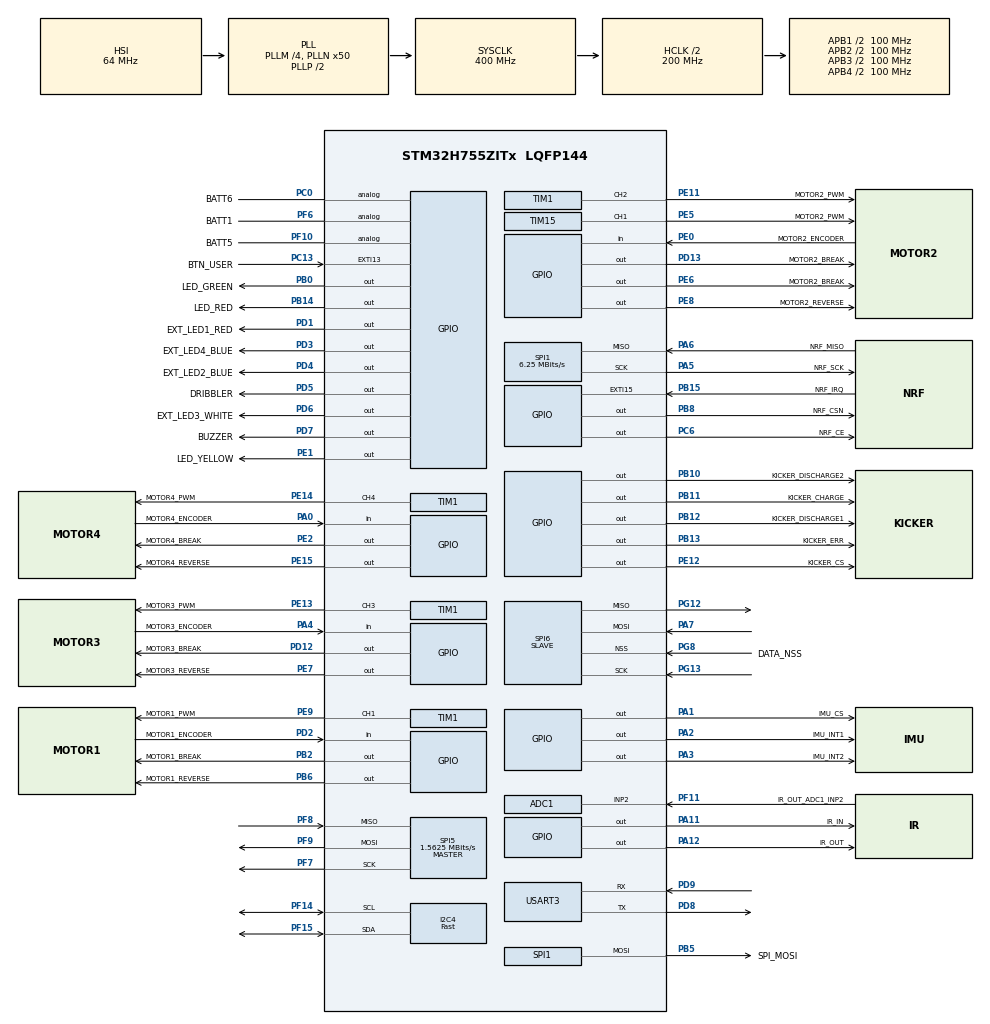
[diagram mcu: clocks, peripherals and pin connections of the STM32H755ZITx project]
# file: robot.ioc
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ADC1.Channel-0\#ChannelRegularConversion=ADC_CHANNEL_2
ADC1.NbrOfConversionFlag=1
ADC1.OffsetNumber-0\#ChannelRegularConversion=ADC_OFFSET_NONE
ADC1.OffsetSignedSaturation-0\#ChannelRegularConversion=DISABLE
ADC1.Rank-0\#ChannelRegularConversion=1
ADC1.SamplingTime-0\#ChannelRegularConversion=ADC_SAMPLETIME_1CYCLE_5
ADC1.master=1
CortexM4.IPs=CORTEX_M4\:I,DEBUG,FATFS_M4\:I,FREERTOS_M4\:I,IWDG2\:I,OPENAMP_M4\:I,PDM2PCM_M4\:I,PWR,RCC,RESMGR_UTILITY,SYS_M4\:I,USB_DEVICE_M4\:I,USB_HOST_M4\:I,VREFBUF,WWDG2\:I,GPIO,DMA,BDMA,MDMA,NVIC2\:I
CortexM7.IPs=CORTEX_M7\:I,DEBUG\:I,FATFS_M7\:I,FREERTOS_M7\:I,IWDG1\:I,OPENAMP_M7\:I,PDM2PCM_M7\:I,PWR\:I,RCC\:I,RESMGR_UTILITY\:I,SYS\:I,USB_DEVICE_M7\:I,USB_HOST_M7\:I,VREFBUF\:I,WWDG1\:I,GPIO\:I,DMA\:I,BDMA\:I,MDMA\:I,NVIC1\:I,USART3\:I,ADC3\:I,TIM1\:I,SPI1\:I,TIM15\:I,TIM2\:I,I2C4\:I,TIM4\:I,TIM5\:I,TIM3\:I,TIM7\:I,TIM12\:I,SPI6\:I,SPI5\:I,ADC1\:I
CortexM7.Pins=PE2,PE6,PC13,PF6,PF10,PC0,PA0,PA1,PA2,PA3,PA4,PB0,PB2,PE7,PE8,PE12,PE15,PB10,PB11,PB12,PB13,PB14,PB15,PD12,PD13,PC6,PA11,PA12,PD1,PD2,PD3,PD4,PD5,PD6,PD7,PB6,PB8,PE0,PE1
I2C4.I2C_Speed_Mode=I2C_Fast
I2C4.Timing=0x009034B6
Mcu.Family=STM32H7
Mcu.Name=STM32H755ZITx
Mcu.Package=LQFP144
NVIC1.EXTI15_10_IRQn=true\:7\:0\:true\:false\:true\:true\:true\:true
NVIC1.PriorityGroup=NVIC_PRIORITYGROUP_4
NVIC1.SPI5_IRQn=true\:0\:0\:false\:false\:true\:true\:true\:true
NVIC1.SPI6_IRQn=true\:5\:0\:true\:false\:true\:true\:true\:true
NVIC1.TIM3_IRQn=true\:6\:0\:true\:false\:true\:true\:true\:true
NVIC1.TIM4_IRQn=true\:6\:0\:true\:false\:true\:true\:true\:true
NVIC1.TIM5_IRQn=true\:6\:0\:true\:false\:true\:true\:true\:true
NVIC1.TIM7_IRQn=true\:6\:0\:true\:false\:true\:true\:true\:true
NVIC1.TIM8_BRK_TIM12_IRQn=true\:6\:0\:true\:false\:true\:true\:true\:true
NVIC1.USART3_IRQn=true\:6\:0\:true\:false\:true\:true\:true\:true
NVIC2.PriorityGroup=NVIC_PRIORITYGROUP_4
PA0.GPIO_Label=MOTOR4_ENCODER
PA0.GPIO_PuPd=GPIO_PULLDOWN
PA0.PinAttribute=CortexM7
PA0.Signal=GPIO_Input
PA1.GPIO_Label=IMU_CS
PA1.PinAttribute=CortexM7
PA1.Signal=GPIO_Output
PA11.GPIO_Label=IR_IN
PA11.PinAttribute=CortexM7
PA11.Signal=GPIO_Output
PA12.GPIO_Label=IR_OUT
PA12.PinAttribute=CortexM7
PA12.Signal=GPIO_Output
PA2.GPIO_Label=IMU_INT1
PA2.PinAttribute=CortexM7
PA2.Signal=GPIO_Output
PA3.GPIO_Label=IMU_INT2
PA3.PinAttribute=CortexM7
PA3.Signal=GPIO_Output
PA4.GPIO_Label=MOTOR3_ENCODER
PA4.GPIO_PuPd=GPIO_NOPULL
PA4.PinAttribute=CortexM7
PA4.Signal=GPIO_Input
PA5.GPIO_Label=NRF_SCK
PA5.Mode=Full_Duplex_Master
PA5.PinAttribute=CortexM7
PA5.Signal=SPI1_SCK
PA6.GPIO_Label=NRF_MISO
PA6.Mode=Full_Duplex_Master
PA6.PinAttribute=CortexM7
PA6.Signal=SPI1_MISO
PA7.Mode=Full_Duplex_Slave
PA7.PinAttribute=CortexM7
PA7.Signal=SPI6_MOSI
PB0.GPIO_Label=LED_GREEN
PB0.PinAttribute=CortexM7
PB0.Signal=GPIO_Output
PB10.GPIO_Label=KICKER_DISCHARGE2
PB10.PinAttribute=CortexM7
PB10.PinState=GPIO_PIN_SET
PB10.Signal=GPIO_Output
PB11.GPIO_Label=KICKER_CHARGE
PB11.PinAttribute=CortexM7
PB11.Signal=GPIO_Output
PB12.GPIO_Label=KICKER_DISCHARGE1
PB12.PinAttribute=CortexM7
PB12.PinState=GPIO_PIN_SET
PB12.Signal=GPIO_Output
PB13.GPIO_Label=KICKER_ERR
PB13.PinAttribute=CortexM7
PB13.Signal=GPIO_Output
PB14.GPIO_Label=LED_RED
PB14.PinAttribute=CortexM7
PB14.PinState=GPIO_PIN_RESET
PB14.Signal=GPIO_Output
PB15.GPIO_Label=NRF_IRQ
PB15.GPIO_ModeDefaultEXTI=GPIO_MODE_IT_FALLING
PB15.PinAttribute=CortexM7
PB15.Signal=GPXTI15
PB2.GPIO_Label=MOTOR1_BREAK
PB2.PinAttribute=CortexM7
PB2.Signal=GPIO_Output
PB5.GPIO_Label=SPI_MOSI
PB5.Mode=Full_Duplex_Master
PB5.PinAttribute=CortexM7
PB5.Signal=SPI1_MOSI
PB6.GPIO_Label=MOTOR1_REVERSE
PB6.PinAttribute=CortexM7
PB6.Signal=GPIO_Output
PB8.GPIO_Label=NRF_CSN
PB8.PinAttribute=CortexM7
PB8.Signal=GPIO_Output
PC0.GPIO_Label=BATT6
PC0.PinAttribute=CortexM7
PC0.Signal=GPIO_Analog
PC13.GPIO_Label=BTN_USER
PC13.PinAttribute=CortexM7
PC13.Signal=GPXTI13
PC6.GPIO_Label=NRF_CE
PC6.PinAttribute=CortexM7
PC6.Signal=GPIO_Output
PD1.GPIO_Label=EXT_LED1_RED
PD1.PinAttribute=CortexM7
PD1.Signal=GPIO_Output
PD12.GPIO_Label=MOTOR3_BREAK
PD12.PinAttribute=CortexM7
PD12.Signal=GPIO_Output
PD13.GPIO_Label=MOTOR2_BREAK
PD13.PinAttribute=CortexM7
PD13.Signal=GPIO_Output
PD2.GPIO_Label=MOTOR1_ENCODER
PD2.GPIO_PuPd=GPIO_PULLDOWN
PD2.PinAttribute=CortexM7
PD2.Signal=GPIO_Input
PD3.GPIO_Label=EXT_LED4_BLUE
PD3.PinAttribute=CortexM7
PD3.Signal=GPIO_Output
PD4.GPIO_Label=EXT_LED2_BLUE
PD4.PinAttribute=CortexM7
PD4.Signal=GPIO_Output
PD5.GPIO_Label=DRIBBLER
PD5.PinAttribute=CortexM7
PD5.Signal=GPIO_Output
PD6.GPIO_Label=EXT_LED3_WHITE
PD6.PinAttribute=CortexM7
PD6.Signal=GPIO_Output
PD7.GPIO_Label=BUZZER
PD7.PinAttribute=CortexM7
PD7.Signal=GPIO_Output
PD8.GPIO_Speed=GPIO_SPEED_FREQ_LOW
PD8.Mode=Asynchronous
PD8.PinAttribute=CortexM7
PD8.Signal=USART3_TX
PD9.GPIO_Speed=GPIO_SPEED_FREQ_LOW
PD9.Mode=Asynchronous
PD9.PinAttribute=CortexM7
PD9.Signal=USART3_RX
PE0.GPIO_Label=MOTOR2_ENCODER
PE0.PinAttribute=CortexM7
PE0.Signal=GPIO_Input
PE1.GPIO_Label=LED_YELLOW
PE1.PinAttribute=CortexM7
PE1.PinState=GPIO_PIN_SET
PE1.Signal=GPIO_Output
PE11.GPIO_Label=MOTOR2_PWM
PE11.PinAttribute=CortexM7
PE11.Signal=S_TIM1_CH2
PE12.GPIO_Label=KICKER_CS
PE12.PinAttribute=CortexM7
PE12.Signal=GPIO_Output
PE13.GPIO_Label=MOTOR3_PWM
PE13.PinAttribute=CortexM7
PE13.Signal=S_TIM1_CH3
PE14.GPIO_Label=MOTOR4_PWM
PE14.PinAttribute=CortexM7
PE14.Signal=S_TIM1_CH4
PE15.GPIO_Label=MOTOR4_REVERSE
PE15.PinAttribute=CortexM7
PE15.Signal=GPIO_Output
PE2.GPIO_Label=MOTOR4_BREAK
PE2.PinAttribute=CortexM7
PE2.Signal=GPIO_Output
PE5.GPIO_Label=MOTOR2_PWM
PE5.PinAttribute=CortexM7
PE5.Signal=S_TIM15_CH1
PE6.GPIO_Label=MOTOR2_BREAK
PE6.PinAttribute=CortexM7
PE6.Signal=GPIO_Output
PE7.GPIO_Label=MOTOR3_REVERSE
PE7.PinAttribute=CortexM7
PE7.Signal=GPIO_Output
PE8.GPIO_Label=MOTOR2_REVERSE
PE8.PinAttribute=CortexM7
PE8.Signal=GPIO_Output
PE9.GPIO_Label=MOTOR1_PWM
PE9.PinAttribute=CortexM7
PE9.Signal=S_TIM1_CH1
PF10.GPIO_Label=BATT5
PF10.PinAttribute=CortexM7
PF10.Signal=GPIO_Analog
PF11.GPIO_Label=IR_OUT_ADC1_INP2
PF11.Mode=IN2-Single-Ended
PF11.PinAttribute=CortexM7
PF11.Signal=ADC1_INP2
PF14.Mode=I2C
PF14.PinAttribute=CortexM7
PF14.Signal=I2C4_SCL
PF15.Mode=I2C
PF15.PinAttribute=CortexM7
PF15.Signal=I2C4_SDA
PF6.GPIO_Label=BATT1
PF6.PinAttribute=CortexM7
PF6.Signal=GPIO_Analog
PF7.Mode=Full_Duplex_Master
PF7.PinAttribute=CortexM7
PF7.Signal=SPI5_SCK
PF8.Mode=Full_Duplex_Master
PF8.PinAttribute=CortexM7
PF8.Signal=SPI5_MISO
PF9.Mode=Full_Duplex_Master
PF9.PinAttribute=CortexM7
PF9.Signal=SPI5_MOSI
PG12.Mode=Full_Duplex_Slave
PG12.PinAttribute=CortexM7
PG12.Signal=SPI6_MISO
PG13.Mode=Full_Duplex_Slave
PG13.PinAttribute=CortexM7
PG13.Signal=SPI6_SCK
PG8.GPIO_Label=DATA_NSS
PG8.Mode=NSS_Signal_Hard_Input
PG8.PinAttribute=CortexM7
PG8.Signal=SPI6_NSS
ProjectManager.HeapSize=M4-0x200,M7-0x200
ProjectManager.StackSize=M4-0x400,M7-0x400
ProjectManager.TargetToolchain=Makefile
RCC.ADCCLockSelection=RCC_ADCCLKSOURCE_CLKP
RCC.ADCFreq_Value=64000000
RCC.APB1Freq_Value=100000000
RCC.APB2Freq_Value=100000000
RCC.APB3Freq_Value=100000000
RCC.APB4Freq_Value=100000000
RCC.CortexFreq_Value=400000000
RCC.D1PPRE=RCC_APB3_DIV2
RCC.D2PPRE1=RCC_APB1_DIV2
RCC.D2PPRE2=RCC_APB2_DIV2
RCC.D3PPRE=RCC_APB4_DIV2
RCC.DIVM1=4
RCC.DIVN1=50
RCC.DIVQ1=4
RCC.HCLKFreq_Value=200000000
RCC.HPRE=RCC_HCLK_DIV2
RCC.PLL2FRACN=0
RCC.PLL3FRACN=0
RCC.PLLFRACN=0
RCC.SYSCLKFreq_VALUE=400000000
RCC.SYSCLKSource=RCC_SYSCLKSOURCE_PLLCLK
RCC.USART234578CLockSelection=RCC_USART234578CLKSOURCE_HSI
RCC.USBFreq_Value=200000000
SH.S_TIM15_CH1.0=TIM15_CH1,PWM Generation1 CH1
SH.S_TIM1_CH1.0=TIM1_CH1,PWM Generation1 CH1
SH.S_TIM1_CH2.0=TIM1_CH2,PWM Generation2 CH2
SH.S_TIM1_CH3.0=TIM1_CH3,PWM Generation3 CH3
SH.S_TIM1_CH4.0=TIM1_CH4,PWM Generation4 CH4
SPI1.BaudRatePrescaler=SPI_BAUDRATEPRESCALER_32
SPI1.CalculateBaudRate=6.25 MBits/s
SPI1.DataSize=SPI_DATASIZE_8BIT
SPI1.Direction=SPI_DIRECTION_2LINES
SPI1.Mode=SPI_MODE_MASTER
SPI1.VirtualType=VM_MASTER
SPI5.BaudRatePrescaler=SPI_BAUDRATEPRESCALER_64
SPI5.CalculateBaudRate=1.5625 MBits/s
SPI5.DataSize=SPI_DATASIZE_8BIT
SPI5.Direction=SPI_DIRECTION_2LINES
SPI5.Mode=SPI_MODE_MASTER
SPI5.VirtualType=VM_MASTER
SPI6.CLKPhase=SPI_PHASE_2EDGE
SPI6.CLKPolarity=SPI_POLARITY_LOW
SPI6.DataSize=SPI_DATASIZE_8BIT
SPI6.Direction=SPI_DIRECTION_2LINES
SPI6.Mode=SPI_MODE_SLAVE
SPI6.VirtualNSS=VM_NSSHARD
SPI6.VirtualType=VM_SLAVE
SYS.userName=SYS_M7
TIM1.Channel-PWM\ Generation1\ CH1=TIM_CHANNEL_1
TIM1.Channel-PWM\ Generation2\ CH2=TIM_CHANNEL_2
TIM1.Channel-PWM\ Generation3\ CH3=TIM_CHANNEL_3
TIM1.Channel-PWM\ Generation4\ CH4=TIM_CHANNEL_4
TIM1.Period=1999
TIM1.Prescaler=0
TIM1.Pulse-PWM\ Generation1\ CH1=0
TIM1.Pulse-PWM\ Generation3\ CH3=0
TIM1.Pulse-PWM\ Generation4\ CH4=0
TIM12.Period=9999
TIM12.Prescaler=19
TIM15.Channel-PWM\ Generation1\ CH1=TIM_CHANNEL_1
TIM15.Period=1999
TIM3.Prescaler=9999
TIM4.Period=999
TIM4.Prescaler=0
TIM5.Period=199
TIM5.Prescaler=799
TIM7.Period=39
TIM7.Prescaler=9999
USART3.ClockPrescaler=PRESCALER_DIV32
USART3.VirtualMode-Asynchronous=VM_ASYNC
VP_SYS_M4_VS_Systick.Mode=SysTick
VP_TIM12_VS_ClockSourceINT.Mode=Internal
VP_TIM12_VS_ClockSourceITR.Mode=TriggerSource_ITR0
VP_TIM3_VS_ClockSourceINT.Mode=Internal
VP_TIM3_VS_ClockSourceITR.Mode=TriggerSource_ITR2
VP_TIM4_VS_ClockSourceINT.Mode=Internal
VP_TIM4_VS_ClockSourceITR.Mode=TriggerSource_ITR1
VP_TIM5_VS_ClockSourceINT.Mode=Internal
VP_TIM5_VS_ClockSourceITR.Mode=TriggerSource_ITR2
VP_TIM7_VS_ClockSourceINT.Mode=Enable_Timer
board=custom

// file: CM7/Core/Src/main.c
/* USER CODE BEGIN Header */
/**
 ******************************************************************************
 * @file           : main.c
 * @brief          : Main program body
 ******************************************************************************
 * @attention
 *
 * Copyright (c) 2023 STMicroelectronics.
 * All rights reserved.
 *
 * This software is licensed under terms that can be found in the LICENSE file
 * in the root directory of this software component.
 * If no LICENSE file comes with this software, it is provided AS-IS.
 *
 ******************************************************************************
 */
/* USER CODE END Header */
#include "main.h"

/* USER CODE BEGIN Includes */
#include "com.h"
#include "imu.h"
#include "imu.pb.h"
#include "data_logging.h"
#include "kicker.h"
#include "log.h"
#include "motor.h"
#include "nav.h"
#include "pos_follow.h"
#include "common.h"
#include "state_estimator.h"
#include "stm32h755xx.h"
#include "stm32h7xx_hal_gpio.h"
#include "stm32h7xx_hal_tim.h"
#include "stm32h7xx_hal_adc.h"
#include "stm32h7xx_it.h"
#include "ui.h"
/* USER CODE END Includes */

/* USER CODE BEGIN PD */
#ifndef HSEM_ID_0
#define HSEM_ID_0 (0U) /* HW semaphore 0*/
#endif
/* USER CODE END PD */

ADC_HandleTypeDef hadc1;

I2C_HandleTypeDef hi2c4;

SPI_HandleTypeDef hspi1;
SPI_HandleTypeDef hspi5;
SPI_HandleTypeDef hspi6;

TIM_HandleTypeDef htim1;
TIM_HandleTypeDef htim3;
TIM_HandleTypeDef htim4;
TIM_HandleTypeDef htim5;
TIM_HandleTypeDef htim7;
TIM_HandleTypeDef htim12;
TIM_HandleTypeDef htim15;

UART_HandleTypeDef huart3;

/* USER CODE BEGIN PV */

I2C_HandleTypeDef hi2c4; // For IMU

/**
 * Used to set tasks to be performed within the main
 * loop of the firmware. It's written to whenever we
 * want to queue such a task (see com.c).
 */
volatile atomic_uint main_tasks;

volatile atomic_uint connected = 0;

uint8_t NRF_AVAILABLE = 0;

static LOG_Module internal_log_mod;
/* USER CODE END PV */

void SystemClock_Config(void);
void PeriphCommonClock_Config(void);
static void MX_GPIO_Init(void);
static void MX_USART3_UART_Init(void);
static void MX_TIM1_Init(void);
static void MX_SPI1_Init(void);
static void MX_TIM12_Init(void);
static void MX_TIM15_Init(void);
static void MX_I2C4_Init(void);
static void MX_TIM4_Init(void);
static void MX_TIM5_Init(void);
static void MX_TIM3_Init(void);
static void MX_TIM7_Init(void);
static void MX_SPI6_Init(void);
static void MX_SPI5_Init(void);
static void MX_ADC1_Init(void);
/* USER CODE BEGIN PFP */

static void I2C4_Init(void);

/* USER CODE END PFP */

/* USER CODE BEGIN 0 */
// Handle callbacks
void HAL_GPIO_EXTI_Callback(uint16_t GPIO_Pin)
{
    __disable_irq();
    switch (GPIO_Pin) {
    case BTN_USER_Pin:
        COM_RF_PrintInfo();
        break;
    case NRF_IRQ_Pin:
        COM_RF_HandleIRQ();
        break;
    default:
        LOG_WARNING("Unhandled interrupt on pin %d...\r\n", GPIO_Pin);
        break;
    }
    __enable_irq();
}

void HAL_TIM_PeriodElapsedCallback(TIM_HandleTypeDef* htim)
{
    /* USER CODE BEGIN Callback 0 */

    /* USER CODE END Callback 0 */
    if (htim->Instance == TIM5) {
        KICKER_ChargeStop();
    }

    if (htim->Instance == TIM3) {
        KICKER_KickStop();
    }
    if (htim->Instance == TIM7) {
        NAV_update_motor_state();
    }

    if (htim->Instance == TIM12) {
        NAV_MovementUpdate();
        if (KICKER_GetKickOnIRBreak() && IR_SensorOcluded())
        {
          KICKER_KickStartSpeed();
        }
    }

    /* USER CODE BEGIN Callback 1 */

    /* USER CODE END Callback 1 */
}

void HAL_UART_RxCpltCallback(UART_HandleTypeDef* huart) { UI_RxCallback(); }

void HAL_SPI_TxRxCpltCallback(SPI_HandleTypeDef *hspi)
{
    if (hspi->Instance == SPI5)
    {
        KICKER_SPI_TxRxCpltCallback(hspi);
    }
}

void HAL_SPI_ErrorCallback(SPI_HandleTypeDef *hspi)
{
    if (hspi->Instance == SPI5)
    {
        KICKER_SPI_ErrorCallback(hspi);
    }
}

/* USER CODE END 0 */

int main(void)
{
/* USER CODE BEGIN Boot_Mode_Sequence_0 */

/* USER CODE END Boot_Mode_Sequence_0 */

/* USER CODE BEGIN Boot_Mode_Sequence_1 */

/* USER CODE END Boot_Mode_Sequence_1 */
  /* MCU Configuration--------------------------------------------------------*/

  /* Reset of all peripherals, Initializes the Flash interface and the Systick. */
  HAL_Init();

  /* Configure the system clock */
  SystemClock_Config();

/* Configure the peripherals common clocks */
  PeriphCommonClock_Config();
/* USER CODE BEGIN Boot_Mode_Sequence_2 */
    /* When system initialization is finished, Cortex-M7 will release Cortex-M4 by
    means of HSEM notification */
    /*HW semaphore Clock enable*/
    __HAL_RCC_HSEM_CLK_ENABLE();
    /*Take HSEM */
    HAL_HSEM_FastTake(HSEM_ID_0);
    /*Release HSEM in order to notify the CPU2(CM4)*/
    HAL_HSEM_Release(HSEM_ID_0, 0);
    /* wait until CPU2 wakes up from stop mode */
    int32_t timeout = 0xFFFF;
    while ((__HAL_RCC_GET_FLAG(RCC_FLAG_D2CKRDY) == RESET) && (timeout-- > 0))
        ;
    if (timeout < 0) {
        Error_Handler();
    }
/* USER CODE END Boot_Mode_Sequence_2 */

  /* Initialize all configured peripherals */
  MX_GPIO_Init();
  MX_USART3_UART_Init();
  MX_TIM1_Init();
  MX_SPI1_Init();
  MX_TIM12_Init();
  MX_TIM15_Init();
  MX_I2C4_Init();
  MX_TIM4_Init();
  MX_TIM5_Init();
  MX_TIM3_Init();
  MX_TIM7_Init();
  MX_SPI6_Init();
  MX_SPI5_Init();
  MX_ADC1_Init();
  /* USER CODE BEGIN 2 */

    // Initialise modules
    LOG_Init(&huart3);
    LOG_InitModule(&internal_log_mod, "MAIN", LOG_LEVEL_INFO, 0);
    if (COM_Get_ID() == 255) {
        LOG_INFO("ID is unknown (%i, serial %li %li %li)\r\n", COM_Get_ID(), HAL_GetUIDw0(), HAL_GetUIDw1(), HAL_GetUIDw2());
    } else {
        LOG_INFO("ID is %i (serial %li %li %li)\r\n", COM_Get_ID(), HAL_GetUIDw0(), HAL_GetUIDw1(), HAL_GetUIDw2());
    }
    POS_Init();
    NAV_Init(&htim7, &htim1, &htim15);
    HAL_TIM_Base_Start_IT(&htim4);
    MOTOR_Init(&htim1);
    DATA_Init(&hspi6);
    KICKER_Init(&htim5, &htim3, &hspi5, &hadc1);
    IMU_Init(&hi2c4);
    STATE_Init();
    UI_Init(&huart3);
    ITR_Init();
    LOG_INFO("Discharging kicker\r\n");
    const int DISCHARGE_AMNT = 10;
    COMMON_buzzer_warning_with_delay();

    for (int i = 0; i < DISCHARGE_AMNT; i++)
    {
        if (i % 20 == 0)
        {
            LOG_INFO("Discharging %d of %d\r\n",i, DISCHARGE_AMNT - 1);
        }

        KICKER_KickSafe();
        HAL_Delay(40);
    }

    STATE_calibrate_imu_gyr();
    HAL_TIM_Base_Start_IT(&htim12);

    COM_Init(&hspi1, &NRF_AVAILABLE);

    if(NRF_AVAILABLE){
        HAL_GPIO_WritePin(LED_GREEN_GPIO_Port, LED_GREEN_Pin, GPIO_PIN_SET);
    }

    HAL_GPIO_WritePin(LED_YELLOW_GPIO_Port, LED_YELLOW_Pin, GPIO_PIN_RESET);

    LOG_INFO("Data sample is %d bytes of max 255\r\n", sizeof(data_sample));
    LOG_INFO("Startup done\r\n");
    COMMON_buzzer_done();
  /* USER CODE END 2 */

  /* Infinite loop */
  /* USER CODE BEGIN WHILE */

    uint32_t now = HAL_GetTick();
    bool on = false;

    NAV_StopDribbler();
    if (KICKER_get_recharge_automatically())
    {
      LOG_INFO("Charging kicker\r\n");
      KICKER_ChargeStart();
    }
    float out[3];
    while (1) {

        DATA_log_state(STATE_get_posx(), STATE_get_posy(), STATE_get_robot_angle());
        if (HAL_GPIO_ReadPin(DATA_NSS_GPIO_Port, DATA_NSS_Pin) == GPIO_PIN_SET)
        {
            // When NSS goes high spi transfer ready for another data dump
            DATA_spi_send();
        }

    /* USER CODE END WHILE */

    }
}

void SystemClock_Config(void)
{
  RCC_OscInitTypeDef RCC_OscInitStruct = {0};
  RCC_ClkInitTypeDef RCC_ClkInitStruct = {0};

  /** Supply configuration update enable
  */
  HAL_PWREx_ConfigSupply(PWR_DIRECT_SMPS_SUPPLY);

  /** Configure the main internal regulator output voltage
  */
  __HAL_PWR_VOLTAGESCALING_CONFIG(PWR_REGULATOR_VOLTAGE_SCALE1);

  while(!__HAL_PWR_GET_FLAG(PWR_FLAG_VOSRDY)) {}

  /** Initializes the RCC Oscillators according to the specified parameters
  * in the RCC_OscInitTypeDef structure.
  */
  RCC_OscInitStruct.OscillatorType = RCC_OSCILLATORTYPE_HSI;
  RCC_OscInitStruct.HSIState = RCC_HSI_DIV1;
  RCC_OscInitStruct.HSICalibrationValue = RCC_HSICALIBRATION_DEFAULT;
  RCC_OscInitStruct.PLL.PLLState = RCC_PLL_ON;
  RCC_OscInitStruct.PLL.PLLSource = RCC_PLLSOURCE_HSI;
  RCC_OscInitStruct.PLL.PLLM = 4;
  RCC_OscInitStruct.PLL.PLLN = 50;
  RCC_OscInitStruct.PLL.PLLP = 2;
  RCC_OscInitStruct.PLL.PLLQ = 4;
  RCC_OscInitStruct.PLL.PLLR = 2;
  RCC_OscInitStruct.PLL.PLLRGE = RCC_PLL1VCIRANGE_3;
  RCC_OscInitStruct.PLL.PLLVCOSEL = RCC_PLL1VCOWIDE;
  RCC_OscInitStruct.PLL.PLLFRACN = 0;
  if (HAL_RCC_OscConfig(&RCC_OscInitStruct) != HAL_OK)
  {
    Error_Handler();
  }

  /** Initializes the CPU, AHB and APB buses clocks
  */
  RCC_ClkInitStruct.ClockType = RCC_CLOCKTYPE_HCLK|RCC_CLOCKTYPE_SYSCLK
                              |RCC_CLOCKTYPE_PCLK1|RCC_CLOCKTYPE_PCLK2
                              |RCC_CLOCKTYPE_D3PCLK1|RCC_CLOCKTYPE_D1PCLK1;
  RCC_ClkInitStruct.SYSCLKSource = RCC_SYSCLKSOURCE_PLLCLK;
  RCC_ClkInitStruct.SYSCLKDivider = RCC_SYSCLK_DIV1;
  RCC_ClkInitStruct.AHBCLKDivider = RCC_HCLK_DIV2;
  RCC_ClkInitStruct.APB3CLKDivider = RCC_APB3_DIV2;
  RCC_ClkInitStruct.APB1CLKDivider = RCC_APB1_DIV2;
  RCC_ClkInitStruct.APB2CLKDivider = RCC_APB2_DIV2;
  RCC_ClkInitStruct.APB4CLKDivider = RCC_APB4_DIV2;

  if (HAL_RCC_ClockConfig(&RCC_ClkInitStruct, FLASH_LATENCY_2) != HAL_OK)
  {
    Error_Handler();
  }
}

void PeriphCommonClock_Config(void)
{
  RCC_PeriphCLKInitTypeDef PeriphClkInitStruct = {0};

  /** Initializes the peripherals clock
  */
  PeriphClkInitStruct.PeriphClockSelection = RCC_PERIPHCLK_CKPER;
  PeriphClkInitStruct.CkperClockSelection = RCC_CLKPSOURCE_HSI;
  if (HAL_RCCEx_PeriphCLKConfig(&PeriphClkInitStruct) != HAL_OK)
  {
    Error_Handler();
  }
}

static void MX_ADC1_Init(void)
{

  ADC_MultiModeTypeDef multimode = {0};
  ADC_ChannelConfTypeDef sConfig = {0};

  /** Common config
  */
  hadc1.Instance = ADC1;
  hadc1.Init.ClockPrescaler = ADC_CLOCK_ASYNC_DIV1;
  hadc1.Init.Resolution = ADC_RESOLUTION_16B;
  hadc1.Init.ScanConvMode = ADC_SCAN_DISABLE;
  hadc1.Init.EOCSelection = ADC_EOC_SINGLE_CONV;
  hadc1.Init.LowPowerAutoWait = DISABLE;
  hadc1.Init.ContinuousConvMode = DISABLE;
  hadc1.Init.NbrOfConversion = 1;
  hadc1.Init.DiscontinuousConvMode = DISABLE;
  hadc1.Init.ExternalTrigConv = ADC_SOFTWARE_START;
  hadc1.Init.ExternalTrigConvEdge = ADC_EXTERNALTRIGCONVEDGE_NONE;
  hadc1.Init.ConversionDataManagement = ADC_CONVERSIONDATA_DR;
  hadc1.Init.Overrun = ADC_OVR_DATA_PRESERVED;
  hadc1.Init.LeftBitShift = ADC_LEFTBITSHIFT_NONE;
  hadc1.Init.OversamplingMode = DISABLE;
  if (HAL_ADC_Init(&hadc1) != HAL_OK)
  {
    Error_Handler();
  }

  /** Configure the ADC multi-mode
  */
  multimode.Mode = ADC_MODE_INDEPENDENT;
  if (HAL_ADCEx_MultiModeConfigChannel(&hadc1, &multimode) != HAL_OK)
  {
    Error_Handler();
  }

  /** Configure Regular Channel
  */
  sConfig.Channel = ADC_CHANNEL_2;
  sConfig.Rank = ADC_REGULAR_RANK_1;
  sConfig.SamplingTime = ADC_SAMPLETIME_1CYCLE_5;
  sConfig.SingleDiff = ADC_SINGLE_ENDED;
  sConfig.OffsetNumber = ADC_OFFSET_NONE;
  sConfig.Offset = 0;
  sConfig.OffsetSignedSaturation = DISABLE;
  if (HAL_ADC_ConfigChannel(&hadc1, &sConfig) != HAL_OK)
  {
    Error_Handler();
  }

}

static void MX_I2C4_Init(void)
{

  /* USER CODE BEGIN I2C4_Init 0 */
    /* Initialize I2C for IMU */
    __HAL_RCC_I2C4_CLK_ENABLE();

    hi2c4.Instance = I2C4;
    hi2c4.Init.Timing = 0x009034B6; // 0x10C0ECFF;
    hi2c4.Init.OwnAddress1 = 0;
    hi2c4.Init.AddressingMode = I2C_ADDRESSINGMODE_7BIT;
    hi2c4.Init.DualAddressMode = I2C_DUALADDRESS_DISABLE;
    hi2c4.Init.GeneralCallMode = I2C_GENERALCALL_DISABLE;
    hi2c4.Init.NoStretchMode = I2C_NOSTRETCH_DISABLE;

    if (HAL_I2C_Init(&hi2c4) != HAL_OK) {
        Error_Handler();
    }

    if (HAL_I2CEx_ConfigAnalogFilter(&hi2c4, I2C_ANALOGFILTER_ENABLE) != HAL_OK) {
        Error_Handler();
    }

    if (HAL_I2CEx_ConfigDigitalFilter(&hi2c4, 0) != HAL_OK) {
        Error_Handler();
    }
  /* USER CODE END I2C4_Init 0 */

  hi2c4.Instance = I2C4;
  hi2c4.Init.Timing = 0x009034B6;
  hi2c4.Init.OwnAddress1 = 0;
  hi2c4.Init.AddressingMode = I2C_ADDRESSINGMODE_7BIT;
  hi2c4.Init.DualAddressMode = I2C_DUALADDRESS_DISABLE;
  hi2c4.Init.OwnAddress2 = 0;
  hi2c4.Init.OwnAddress2Masks = I2C_OA2_NOMASK;
  hi2c4.Init.GeneralCallMode = I2C_GENERALCALL_DISABLE;
  hi2c4.Init.NoStretchMode = I2C_NOSTRETCH_DISABLE;
  if (HAL_I2C_Init(&hi2c4) != HAL_OK)
  {
    Error_Handler();
  }

  /** Configure Analogue filter
  */
  if (HAL_I2CEx_ConfigAnalogFilter(&hi2c4, I2C_ANALOGFILTER_ENABLE) != HAL_OK)
  {
    Error_Handler();
  }

  /** Configure Digital filter
  */
  if (HAL_I2CEx_ConfigDigitalFilter(&hi2c4, 0) != HAL_OK)
  {
    Error_Handler();
  }

}

static void MX_SPI1_Init(void)
{

  /* SPI1 parameter configuration*/
  hspi1.Instance = SPI1;
  hspi1.Init.Mode = SPI_MODE_MASTER;
  hspi1.Init.Direction = SPI_DIRECTION_2LINES;
  hspi1.Init.DataSize = SPI_DATASIZE_8BIT;
  hspi1.Init.CLKPolarity = SPI_POLARITY_LOW;
  hspi1.Init.CLKPhase = SPI_PHASE_1EDGE;
  hspi1.Init.NSS = SPI_NSS_SOFT;
  hspi1.Init.BaudRatePrescaler = SPI_BAUDRATEPRESCALER_32;
  hspi1.Init.FirstBit = SPI_FIRSTBIT_MSB;
  hspi1.Init.TIMode = SPI_TIMODE_DISABLE;
  hspi1.Init.CRCCalculation = SPI_CRCCALCULATION_DISABLE;
  hspi1.Init.CRCPolynomial = 0x0;
  hspi1.Init.NSSPMode = SPI_NSS_PULSE_ENABLE;
  hspi1.Init.NSSPolarity = SPI_NSS_POLARITY_LOW;
  hspi1.Init.FifoThreshold = SPI_FIFO_THRESHOLD_01DATA;
  hspi1.Init.TxCRCInitializationPattern = SPI_CRC_INITIALIZATION_ALL_ZERO_PATTERN;
  hspi1.Init.RxCRCInitializationPattern = SPI_CRC_INITIALIZATION_ALL_ZERO_PATTERN;
  hspi1.Init.MasterSSIdleness = SPI_MASTER_SS_IDLENESS_00CYCLE;
  hspi1.Init.MasterInterDataIdleness = SPI_MASTER_INTERDATA_IDLENESS_00CYCLE;
  hspi1.Init.MasterReceiverAutoSusp = SPI_MASTER_RX_AUTOSUSP_DISABLE;
  hspi1.Init.MasterKeepIOState = SPI_MASTER_KEEP_IO_STATE_DISABLE;
  hspi1.Init.IOSwap = SPI_IO_SWAP_DISABLE;
  if (HAL_SPI_Init(&hspi1) != HAL_OK)
  {
    Error_Handler();
  }

}

static void MX_SPI5_Init(void)
{

  /* SPI5 parameter configuration*/
  hspi5.Instance = SPI5;
  hspi5.Init.Mode = SPI_MODE_MASTER;
  hspi5.Init.Direction = SPI_DIRECTION_2LINES;
  hspi5.Init.DataSize = SPI_DATASIZE_8BIT;
  hspi5.Init.CLKPolarity = SPI_POLARITY_LOW;
  hspi5.Init.CLKPhase = SPI_PHASE_1EDGE;
  hspi5.Init.NSS = SPI_NSS_SOFT;
  hspi5.Init.BaudRatePrescaler = SPI_BAUDRATEPRESCALER_64;
  hspi5.Init.FirstBit = SPI_FIRSTBIT_MSB;
  hspi5.Init.TIMode = SPI_TIMODE_DISABLE;
  hspi5.Init.CRCCalculation = SPI_CRCCALCULATION_DISABLE;
  hspi5.Init.CRCPolynomial = 0x0;
  hspi5.Init.NSSPMode = SPI_NSS_PULSE_ENABLE;
  hspi5.Init.NSSPolarity = SPI_NSS_POLARITY_LOW;
  hspi5.Init.FifoThreshold = SPI_FIFO_THRESHOLD_01DATA;
  hspi5.Init.TxCRCInitializationPattern = SPI_CRC_INITIALIZATION_ALL_ZERO_PATTERN;
  hspi5.Init.RxCRCInitializationPattern = SPI_CRC_INITIALIZATION_ALL_ZERO_PATTERN;
  hspi5.Init.MasterSSIdleness = SPI_MASTER_SS_IDLENESS_00CYCLE;
  hspi5.Init.MasterInterDataIdleness = SPI_MASTER_INTERDATA_IDLENESS_00CYCLE;
  hspi5.Init.MasterReceiverAutoSusp = SPI_MASTER_RX_AUTOSUSP_DISABLE;
  hspi5.Init.MasterKeepIOState = SPI_MASTER_KEEP_IO_STATE_DISABLE;
  hspi5.Init.IOSwap = SPI_IO_SWAP_DISABLE;
  if (HAL_SPI_Init(&hspi5) != HAL_OK)
  {
    Error_Handler();
  }

}

static void MX_SPI6_Init(void)
{

  /* SPI6 parameter configuration*/
  hspi6.Instance = SPI6;
  hspi6.Init.Mode = SPI_MODE_SLAVE;
  hspi6.Init.Direction = SPI_DIRECTION_2LINES;
  hspi6.Init.DataSize = SPI_DATASIZE_8BIT;
  hspi6.Init.CLKPolarity = SPI_POLARITY_LOW;
  hspi6.Init.CLKPhase = SPI_PHASE_2EDGE;
  hspi6.Init.NSS = SPI_NSS_HARD_INPUT;
  hspi6.Init.FirstBit = SPI_FIRSTBIT_MSB;
  hspi6.Init.TIMode = SPI_TIMODE_DISABLE;
  hspi6.Init.CRCCalculation = SPI_CRCCALCULATION_DISABLE;
  hspi6.Init.CRCPolynomial = 0x0;
  hspi6.Init.NSSPMode = SPI_NSS_PULSE_DISABLE;
  hspi6.Init.NSSPolarity = SPI_NSS_POLARITY_LOW;
  hspi6.Init.FifoThreshold = SPI_FIFO_THRESHOLD_01DATA;
  hspi6.Init.TxCRCInitializationPattern = SPI_CRC_INITIALIZATION_ALL_ZERO_PATTERN;
  hspi6.Init.RxCRCInitializationPattern = SPI_CRC_INITIALIZATION_ALL_ZERO_PATTERN;
  hspi6.Init.MasterSSIdleness = SPI_MASTER_SS_IDLENESS_00CYCLE;
  hspi6.Init.MasterInterDataIdleness = SPI_MASTER_INTERDATA_IDLENESS_00CYCLE;
  hspi6.Init.MasterReceiverAutoSusp = SPI_MASTER_RX_AUTOSUSP_DISABLE;
  hspi6.Init.MasterKeepIOState = SPI_MASTER_KEEP_IO_STATE_DISABLE;
  hspi6.Init.IOSwap = SPI_IO_SWAP_DISABLE;
  if (HAL_SPI_Init(&hspi6) != HAL_OK)
  {
    Error_Handler();
  }

}

static void MX_TIM1_Init(void)
{

  TIM_MasterConfigTypeDef sMasterConfig = {0};
  TIM_OC_InitTypeDef sConfigOC = {0};
  TIM_BreakDeadTimeConfigTypeDef sBreakDeadTimeConfig = {0};

  htim1.Instance = TIM1;
  htim1.Init.Prescaler = 0;
  htim1.Init.CounterMode = TIM_COUNTERMODE_UP;
  htim1.Init.Period = 1999;
  htim1.Init.ClockDivision = TIM_CLOCKDIVISION_DIV1;
  htim1.Init.RepetitionCounter = 0;
  htim1.Init.AutoReloadPreload = TIM_AUTORELOAD_PRELOAD_DISABLE;
  if (HAL_TIM_PWM_Init(&htim1) != HAL_OK)
  {
    Error_Handler();
  }
  sMasterConfig.MasterOutputTrigger = TIM_TRGO_RESET;
  sMasterConfig.MasterOutputTrigger2 = TIM_TRGO2_RESET;
  sMasterConfig.MasterSlaveMode = TIM_MASTERSLAVEMODE_DISABLE;
  if (HAL_TIMEx_MasterConfigSynchronization(&htim1, &sMasterConfig) != HAL_OK)
  {
    Error_Handler();
  }
  sConfigOC.OCMode = TIM_OCMODE_PWM1;
  sConfigOC.Pulse = 0;
  sConfigOC.OCPolarity = TIM_OCPOLARITY_HIGH;
  sConfigOC.OCNPolarity = TIM_OCNPOLARITY_HIGH;
  sConfigOC.OCFastMode = TIM_OCFAST_DISABLE;
  sConfigOC.OCIdleState = TIM_OCIDLESTATE_RESET;
  sConfigOC.OCNIdleState = TIM_OCNIDLESTATE_RESET;
  if (HAL_TIM_PWM_ConfigChannel(&htim1, &sConfigOC, TIM_CHANNEL_1) != HAL_OK)
  {
    Error_Handler();
  }
  if (HAL_TIM_PWM_ConfigChannel(&htim1, &sConfigOC, TIM_CHANNEL_2) != HAL_OK)
  {
    Error_Handler();
  }
  if (HAL_TIM_PWM_ConfigChannel(&htim1, &sConfigOC, TIM_CHANNEL_3) != HAL_OK)
  {
    Error_Handler();
  }
  if (HAL_TIM_PWM_ConfigChannel(&htim1, &sConfigOC, TIM_CHANNEL_4) != HAL_OK)
  {
    Error_Handler();
  }
  sBreakDeadTimeConfig.OffStateRunMode = TIM_OSSR_DISABLE;
  sBreakDeadTimeConfig.OffStateIDLEMode = TIM_OSSI_DISABLE;
  sBreakDeadTimeConfig.LockLevel = TIM_LOCKLEVEL_OFF;
  sBreakDeadTimeConfig.DeadTime = 0;
  sBreakDeadTimeConfig.BreakState = TIM_BREAK_DISABLE;
  sBreakDeadTimeConfig.BreakPolarity = TIM_BREAKPOLARITY_HIGH;
  sBreakDeadTimeConfig.BreakFilter = 0;
  sBreakDeadTimeConfig.Break2State = TIM_BREAK2_DISABLE;
  sBreakDeadTimeConfig.Break2Polarity = TIM_BREAK2POLARITY_HIGH;
  sBreakDeadTimeConfig.Break2Filter = 0;
  sBreakDeadTimeConfig.AutomaticOutput = TIM_AUTOMATICOUTPUT_DISABLE;
  if (HAL_TIMEx_ConfigBreakDeadTime(&htim1, &sBreakDeadTimeConfig) != HAL_OK)
  {
    Error_Handler();
  }
  HAL_TIM_MspPostInit(&htim1);

}

static void MX_TIM3_Init(void)
{

  TIM_ClockConfigTypeDef sClockSourceConfig = {0};
  TIM_SlaveConfigTypeDef sSlaveConfig = {0};
  TIM_MasterConfigTypeDef sMasterConfig = {0};

  htim3.Instance = TIM3;
  htim3.Init.Prescaler = 9999;
  htim3.Init.CounterMode = TIM_COUNTERMODE_UP;
  htim3.Init.Period = 65535;
  htim3.Init.ClockDivision = TIM_CLOCKDIVISION_DIV1;
  htim3.Init.AutoReloadPreload = TIM_AUTORELOAD_PRELOAD_DISABLE;
  if (HAL_TIM_Base_Init(&htim3) != HAL_OK)
  {
    Error_Handler();
  }
  sClockSourceConfig.ClockSource = TIM_CLOCKSOURCE_INTERNAL;
  if (HAL_TIM_ConfigClockSource(&htim3, &sClockSourceConfig) != HAL_OK)
  {
    Error_Handler();
  }
  sSlaveConfig.SlaveMode = TIM_SLAVEMODE_DISABLE;
  sSlaveConfig.InputTrigger = TIM_TS_ITR2;
  if (HAL_TIM_SlaveConfigSynchro(&htim3, &sSlaveConfig) != HAL_OK)
  {
    Error_Handler();
  }
  sMasterConfig.MasterOutputTrigger = TIM_TRGO_RESET;
  sMasterConfig.MasterSlaveMode = TIM_MASTERSLAVEMODE_DISABLE;
  if (HAL_TIMEx_MasterConfigSynchronization(&htim3, &sMasterConfig) != HAL_OK)
  {
    Error_Handler();
  }

}

static void MX_TIM4_Init(void)
{

  TIM_ClockConfigTypeDef sClockSourceConfig = {0};
  TIM_SlaveConfigTypeDef sSlaveConfig = {0};
  TIM_MasterConfigTypeDef sMasterConfig = {0};

  htim4.Instance = TIM4;
  htim4.Init.Prescaler = 0;
  htim4.Init.CounterMode = TIM_COUNTERMODE_UP;
  htim4.Init.Period = 999;
  htim4.Init.ClockDivision = TIM_CLOCKDIVISION_DIV1;
  htim4.Init.AutoReloadPreload = TIM_AUTORELOAD_PRELOAD_DISABLE;
  if (HAL_TIM_Base_Init(&htim4) != HAL_OK)
  {
    Error_Handler();
  }
  sClockSourceConfig.ClockSource = TIM_CLOCKSOURCE_INTERNAL;
  if (HAL_TIM_ConfigClockSource(&htim4, &sClockSourceConfig) != HAL_OK)
  {
    Error_Handler();
  }
  sSlaveConfig.SlaveMode = TIM_SLAVEMODE_DISABLE;
  sSlaveConfig.InputTrigger = TIM_TS_ITR1;
  if (HAL_TIM_SlaveConfigSynchro(&htim4, &sSlaveConfig) != HAL_OK)
  {
    Error_Handler();
  }
  sMasterConfig.MasterOutputTrigger = TIM_TRGO_RESET;
  sMasterConfig.MasterSlaveMode = TIM_MASTERSLAVEMODE_DISABLE;
  if (HAL_TIMEx_MasterConfigSynchronization(&htim4, &sMasterConfig) != HAL_OK)
  {
    Error_Handler();
  }

}

static void MX_TIM5_Init(void)
{

  TIM_ClockConfigTypeDef sClockSourceConfig = {0};
  TIM_SlaveConfigTypeDef sSlaveConfig = {0};
  TIM_MasterConfigTypeDef sMasterConfig = {0};

  /* USER CODE BEGIN TIM5_Init 1 */

  // Prescaler = 399 and Period = 199 works good

  /* USER CODE END TIM5_Init 1 */
  htim5.Instance = TIM5;
  htim5.Init.Prescaler = 799;
  htim5.Init.CounterMode = TIM_COUNTERMODE_UP;
  htim5.Init.Period = 199;
  htim5.Init.ClockDivision = TIM_CLOCKDIVISION_DIV1;
  htim5.Init.AutoReloadPreload = TIM_AUTORELOAD_PRELOAD_DISABLE;
  if (HAL_TIM_Base_Init(&htim5) != HAL_OK)
  {
    Error_Handler();
  }
  sClockSourceConfig.ClockSource = TIM_CLOCKSOURCE_INTERNAL;
  if (HAL_TIM_ConfigClockSource(&htim5, &sClockSourceConfig) != HAL_OK)
  {
    Error_Handler();
  }
  sSlaveConfig.SlaveMode = TIM_SLAVEMODE_DISABLE;
  sSlaveConfig.InputTrigger = TIM_TS_ITR2;
  if (HAL_TIM_SlaveConfigSynchro(&htim5, &sSlaveConfig) != HAL_OK)
  {
    Error_Handler();
  }
  sMasterConfig.MasterOutputTrigger = TIM_TRGO_RESET;
  sMasterConfig.MasterSlaveMode = TIM_MASTERSLAVEMODE_DISABLE;
  if (HAL_TIMEx_MasterConfigSynchronization(&htim5, &sMasterConfig) != HAL_OK)
  {
    Error_Handler();
  }

}

static void MX_TIM7_Init(void)
{

  TIM_MasterConfigTypeDef sMasterConfig = {0};

  htim7.Instance = TIM7;
  htim7.Init.Prescaler = 9999;
  htim7.Init.CounterMode = TIM_COUNTERMODE_UP;
  htim7.Init.Period = 39;
  htim7.Init.AutoReloadPreload = TIM_AUTORELOAD_PRELOAD_DISABLE;
  if (HAL_TIM_Base_Init(&htim7) != HAL_OK)
  {
    Error_Handler();
  }
  sMasterConfig.MasterOutputTrigger = TIM_TRGO_RESET;
  sMasterConfig.MasterSlaveMode = TIM_MASTERSLAVEMODE_DISABLE;
  if (HAL_TIMEx_MasterConfigSynchronization(&htim7, &sMasterConfig) != HAL_OK)
  {
    Error_Handler();
  }

}

static void MX_TIM12_Init(void)
{

  TIM_ClockConfigTypeDef sClockSourceConfig = {0};
  TIM_SlaveConfigTypeDef sSlaveConfig = {0};
  TIM_MasterConfigTypeDef sMasterConfig = {0};

  htim12.Instance = TIM12;
  htim12.Init.Prescaler = 19;
  htim12.Init.CounterMode = TIM_COUNTERMODE_UP;
  htim12.Init.Period = 9999;
  htim12.Init.ClockDivision = TIM_CLOCKDIVISION_DIV1;
  htim12.Init.AutoReloadPreload = TIM_AUTORELOAD_PRELOAD_DISABLE;
  if (HAL_TIM_Base_Init(&htim12) != HAL_OK)
  {
    Error_Handler();
  }
  sClockSourceConfig.ClockSource = TIM_CLOCKSOURCE_INTERNAL;
  if (HAL_TIM_ConfigClockSource(&htim12, &sClockSourceConfig) != HAL_OK)
  {
    Error_Handler();
  }
  sSlaveConfig.SlaveMode = TIM_SLAVEMODE_DISABLE;
  sSlaveConfig.InputTrigger = TIM_TS_ITR0;
  if (HAL_TIM_SlaveConfigSynchro(&htim12, &sSlaveConfig) != HAL_OK)
  {
    Error_Handler();
  }
  sMasterConfig.MasterOutputTrigger = TIM_TRGO_RESET;
  sMasterConfig.MasterSlaveMode = TIM_MASTERSLAVEMODE_DISABLE;
  if (HAL_TIMEx_MasterConfigSynchronization(&htim12, &sMasterConfig) != HAL_OK)
  {
    Error_Handler();
  }

}

static void MX_TIM15_Init(void)
{

  TIM_MasterConfigTypeDef sMasterConfig = {0};
  TIM_OC_InitTypeDef sConfigOC = {0};
  TIM_BreakDeadTimeConfigTypeDef sBreakDeadTimeConfig = {0};

  htim15.Instance = TIM15;
  htim15.Init.Prescaler = 0;
  htim15.Init.CounterMode = TIM_COUNTERMODE_UP;
  htim15.Init.Period = 1999;
  htim15.Init.ClockDivision = TIM_CLOCKDIVISION_DIV1;
  htim15.Init.RepetitionCounter = 0;
  htim15.Init.AutoReloadPreload = TIM_AUTORELOAD_PRELOAD_DISABLE;
  if (HAL_TIM_PWM_Init(&htim15) != HAL_OK)
  {
    Error_Handler();
  }
  sMasterConfig.MasterOutputTrigger = TIM_TRGO_RESET;
  sMasterConfig.MasterSlaveMode = TIM_MASTERSLAVEMODE_DISABLE;
  if (HAL_TIMEx_MasterConfigSynchronization(&htim15, &sMasterConfig) != HAL_OK)
  {
    Error_Handler();
  }
  sConfigOC.OCMode = TIM_OCMODE_PWM1;
  sConfigOC.Pulse = 0;
  sConfigOC.OCPolarity = TIM_OCPOLARITY_HIGH;
  sConfigOC.OCNPolarity = TIM_OCNPOLARITY_HIGH;
  sConfigOC.OCFastMode = TIM_OCFAST_DISABLE;
  sConfigOC.OCIdleState = TIM_OCIDLESTATE_RESET;
  sConfigOC.OCNIdleState = TIM_OCNIDLESTATE_RESET;
  if (HAL_TIM_PWM_ConfigChannel(&htim15, &sConfigOC, TIM_CHANNEL_1) != HAL_OK)
  {
    Error_Handler();
  }
  sBreakDeadTimeConfig.OffStateRunMode = TIM_OSSR_DISABLE;
  sBreakDeadTimeConfig.OffStateIDLEMode = TIM_OSSI_DISABLE;
  sBreakDeadTimeConfig.LockLevel = TIM_LOCKLEVEL_OFF;
  sBreakDeadTimeConfig.DeadTime = 0;
  sBreakDeadTimeConfig.BreakState = TIM_BREAK_DISABLE;
  sBreakDeadTimeConfig.BreakPolarity = TIM_BREAKPOLARITY_HIGH;
  sBreakDeadTimeConfig.BreakFilter = 0;
  sBreakDeadTimeConfig.AutomaticOutput = TIM_AUTOMATICOUTPUT_DISABLE;
  if (HAL_TIMEx_ConfigBreakDeadTime(&htim15, &sBreakDeadTimeConfig) != HAL_OK)
  {
    Error_Handler();
  }
  HAL_TIM_MspPostInit(&htim15);

}

static void MX_USART3_UART_Init(void)
{

  huart3.Instance = USART3;
  huart3.Init.BaudRate = 115200;
  huart3.Init.WordLength = UART_WORDLENGTH_8B;
  huart3.Init.StopBits = UART_STOPBITS_1;
  huart3.Init.Parity = UART_PARITY_NONE;
  huart3.Init.Mode = UART_MODE_TX_RX;
  huart3.Init.HwFlowCtl = UART_HWCONTROL_NONE;
  huart3.Init.OverSampling = UART_OVERSAMPLING_16;
  huart3.Init.OneBitSampling = UART_ONE_BIT_SAMPLE_DISABLE;
  huart3.Init.ClockPrescaler = UART_PRESCALER_DIV32;
  huart3.AdvancedInit.AdvFeatureInit = UART_ADVFEATURE_NO_INIT;
  if (HAL_UART_Init(&huart3) != HAL_OK)
  {
    Error_Handler();
  }
  if (HAL_UARTEx_SetTxFifoThreshold(&huart3, UART_TXFIFO_THRESHOLD_1_8) != HAL_OK)
  {
    Error_Handler();
  }
  if (HAL_UARTEx_SetRxFifoThreshold(&huart3, UART_RXFIFO_THRESHOLD_1_8) != HAL_OK)
  {
    Error_Handler();
  }
  if (HAL_UARTEx_DisableFifoMode(&huart3) != HAL_OK)
  {
    Error_Handler();
  }

}

static void MX_GPIO_Init(void)
{
  GPIO_InitTypeDef GPIO_InitStruct = {0};

  /* GPIO Ports Clock Enable */
  __HAL_RCC_GPIOE_CLK_ENABLE();
  __HAL_RCC_GPIOC_CLK_ENABLE();
  __HAL_RCC_GPIOF_CLK_ENABLE();
  __HAL_RCC_GPIOA_CLK_ENABLE();
  __HAL_RCC_GPIOB_CLK_ENABLE();
  __HAL_RCC_GPIOD_CLK_ENABLE();
  __HAL_RCC_GPIOG_CLK_ENABLE();

  /*Configure GPIO pin Output Level */
  HAL_GPIO_WritePin(GPIOE, MOTOR4_BREAK_Pin|MOTOR2_BREAK_Pin|MOTOR3_REVERSE_Pin|MOTOR2_REVERSE_Pin
                          |KICKER_CS_Pin|MOTOR4_REVERSE_Pin, GPIO_PIN_RESET);

  /*Configure GPIO pin Output Level */
  HAL_GPIO_WritePin(GPIOA, IMU_CS_Pin|IMU_INT1_Pin|IMU_INT2_Pin|IR_IN_Pin
                          |IR_OUT_Pin, GPIO_PIN_RESET);

  /*Configure GPIO pin Output Level */
  HAL_GPIO_WritePin(GPIOB, LED_GREEN_Pin|MOTOR1_BREAK_Pin|KICKER_CHARGE_Pin|KICKER_ERR_Pin
                          |LED_RED_Pin|MOTOR1_REVERSE_Pin|NRF_CSN_Pin, GPIO_PIN_RESET);

  /*Configure GPIO pin Output Level */
  HAL_GPIO_WritePin(GPIOB, KICKER_DISCHARGE2_Pin|KICKER_DISCHARGE1_Pin, GPIO_PIN_SET);

  /*Configure GPIO pin Output Level */
  HAL_GPIO_WritePin(GPIOD, MOTOR3_BREAK_Pin|MOTOR2_BREAKD13_Pin|EXT_LED1_RED_Pin|EXT_LED4_BLUE_Pin
                          |EXT_LED2_BLUE_Pin|DRIBBLER_Pin|EXT_LED3_WHITE_Pin|BUZZER_Pin, GPIO_PIN_RESET);

  /*Configure GPIO pin Output Level */
  HAL_GPIO_WritePin(NRF_CE_GPIO_Port, NRF_CE_Pin, GPIO_PIN_RESET);

  /*Configure GPIO pin Output Level */
  HAL_GPIO_WritePin(LED_YELLOW_GPIO_Port, LED_YELLOW_Pin, GPIO_PIN_SET);

  /*Configure GPIO pins : MOTOR4_BREAK_Pin MOTOR2_BREAK_Pin MOTOR3_REVERSE_Pin MOTOR2_REVERSE_Pin
                           KICKER_CS_Pin MOTOR4_REVERSE_Pin LED_YELLOW_Pin */
  GPIO_InitStruct.Pin = MOTOR4_BREAK_Pin|MOTOR2_BREAK_Pin|MOTOR3_REVERSE_Pin|MOTOR2_REVERSE_Pin
                          |KICKER_CS_Pin|MOTOR4_REVERSE_Pin|LED_YELLOW_Pin;
  GPIO_InitStruct.Mode = GPIO_MODE_OUTPUT_PP;
  GPIO_InitStruct.Pull = GPIO_NOPULL;
  GPIO_InitStruct.Speed = GPIO_SPEED_FREQ_LOW;
  HAL_GPIO_Init(GPIOE, &GPIO_InitStruct);

  /*Configure GPIO pin : BTN_USER_Pin */
  GPIO_InitStruct.Pin = BTN_USER_Pin;
  GPIO_InitStruct.Mode = GPIO_MODE_IT_RISING;
  GPIO_InitStruct.Pull = GPIO_NOPULL;
  HAL_GPIO_Init(BTN_USER_GPIO_Port, &GPIO_InitStruct);

  /*Configure GPIO pins : BATT1_Pin BATT5_Pin */
  GPIO_InitStruct.Pin = BATT1_Pin|BATT5_Pin;
  GPIO_InitStruct.Mode = GPIO_MODE_ANALOG;
  GPIO_InitStruct.Pull = GPIO_NOPULL;
  HAL_GPIO_Init(GPIOF, &GPIO_InitStruct);

  /*Configure GPIO pin : BATT6_Pin */
  GPIO_InitStruct.Pin = BATT6_Pin;
  GPIO_InitStruct.Mode = GPIO_MODE_ANALOG;
  GPIO_InitStruct.Pull = GPIO_NOPULL;
  HAL_GPIO_Init(BATT6_GPIO_Port, &GPIO_InitStruct);

  /*Configure GPIO pin : MOTOR4_ENCODER_Pin */
  GPIO_InitStruct.Pin = MOTOR4_ENCODER_Pin;
  GPIO_InitStruct.Mode = GPIO_MODE_INPUT;
  GPIO_InitStruct.Pull = GPIO_PULLDOWN;
  HAL_GPIO_Init(MOTOR4_ENCODER_GPIO_Port, &GPIO_InitStruct);

  /*Configure GPIO pins : IMU_CS_Pin IMU_INT1_Pin IMU_INT2_Pin IR_IN_Pin
                           IR_OUT_Pin */
  GPIO_InitStruct.Pin = IMU_CS_Pin|IMU_INT1_Pin|IMU_INT2_Pin|IR_IN_Pin
                          |IR_OUT_Pin;
  GPIO_InitStruct.Mode = GPIO_MODE_OUTPUT_PP;
  GPIO_InitStruct.Pull = GPIO_NOPULL;
  GPIO_InitStruct.Speed = GPIO_SPEED_FREQ_LOW;
  HAL_GPIO_Init(GPIOA, &GPIO_InitStruct);

  /*Configure GPIO pin : MOTOR3_ENCODER_Pin */
  GPIO_InitStruct.Pin = MOTOR3_ENCODER_Pin;
  GPIO_InitStruct.Mode = GPIO_MODE_INPUT;
  GPIO_InitStruct.Pull = GPIO_NOPULL;
  HAL_GPIO_Init(MOTOR3_ENCODER_GPIO_Port, &GPIO_InitStruct);

  /*Configure GPIO pins : LED_GREEN_Pin MOTOR1_BREAK_Pin KICKER_DISCHARGE2_Pin KICKER_CHARGE_Pin
                           KICKER_DISCHARGE1_Pin KICKER_ERR_Pin LED_RED_Pin MOTOR1_REVERSE_Pin
                           NRF_CSN_Pin */
  GPIO_InitStruct.Pin = LED_GREEN_Pin|MOTOR1_BREAK_Pin|KICKER_DISCHARGE2_Pin|KICKER_CHARGE_Pin
                          |KICKER_DISCHARGE1_Pin|KICKER_ERR_Pin|LED_RED_Pin|MOTOR1_REVERSE_Pin
                          |NRF_CSN_Pin;
  GPIO_InitStruct.Mode = GPIO_MODE_OUTPUT_PP;
  GPIO_InitStruct.Pull = GPIO_NOPULL;
  GPIO_InitStruct.Speed = GPIO_SPEED_FREQ_LOW;
  HAL_GPIO_Init(GPIOB, &GPIO_InitStruct);

  /*Configure GPIO pin : NRF_IRQ_Pin */
  GPIO_InitStruct.Pin = NRF_IRQ_Pin;
  GPIO_InitStruct.Mode = GPIO_MODE_IT_FALLING;
  GPIO_InitStruct.Pull = GPIO_NOPULL;
  HAL_GPIO_Init(NRF_IRQ_GPIO_Port, &GPIO_InitStruct);

  /*Configure GPIO pins : MOTOR3_BREAK_Pin MOTOR2_BREAKD13_Pin EXT_LED1_RED_Pin EXT_LED4_BLUE_Pin
                           EXT_LED2_BLUE_Pin DRIBBLER_Pin EXT_LED3_WHITE_Pin BUZZER_Pin */
  GPIO_InitStruct.Pin = MOTOR3_BREAK_Pin|MOTOR2_BREAKD13_Pin|EXT_LED1_RED_Pin|EXT_LED4_BLUE_Pin
                          |EXT_LED2_BLUE_Pin|DRIBBLER_Pin|EXT_LED3_WHITE_Pin|BUZZER_Pin;
  GPIO_InitStruct.Mode = GPIO_MODE_OUTPUT_PP;
  GPIO_InitStruct.Pull = GPIO_NOPULL;
  GPIO_InitStruct.Speed = GPIO_SPEED_FREQ_LOW;
  HAL_GPIO_Init(GPIOD, &GPIO_InitStruct);

  /*Configure GPIO pin : NRF_CE_Pin */
  GPIO_InitStruct.Pin = NRF_CE_Pin;
  GPIO_InitStruct.Mode = GPIO_MODE_OUTPUT_PP;
  GPIO_InitStruct.Pull = GPIO_NOPULL;
  GPIO_InitStruct.Speed = GPIO_SPEED_FREQ_LOW;
  HAL_GPIO_Init(NRF_CE_GPIO_Port, &GPIO_InitStruct);

  /*Configure GPIO pin : MOTOR1_ENCODER_Pin */
  GPIO_InitStruct.Pin = MOTOR1_ENCODER_Pin;
  GPIO_InitStruct.Mode = GPIO_MODE_INPUT;
  GPIO_InitStruct.Pull = GPIO_PULLDOWN;
  HAL_GPIO_Init(MOTOR1_ENCODER_GPIO_Port, &GPIO_InitStruct);

  /*Configure GPIO pin : MOTOR2_ENCODER_Pin */
  GPIO_InitStruct.Pin = MOTOR2_ENCODER_Pin;
  GPIO_InitStruct.Mode = GPIO_MODE_INPUT;
  GPIO_InitStruct.Pull = GPIO_NOPULL;
  HAL_GPIO_Init(MOTOR2_ENCODER_GPIO_Port, &GPIO_InitStruct);

  /* EXTI interrupt init*/
  HAL_NVIC_SetPriority(EXTI15_10_IRQn, 7, 0);
  HAL_NVIC_EnableIRQ(EXTI15_10_IRQn);

/* USER CODE BEGIN MX_GPIO_Init_2 */

    /* Configure IMU_SCL_Pin */
    GPIO_InitStruct.Pin = IMU_SCL_Pin;
    GPIO_InitStruct.Mode = GPIO_MODE_AF_OD;
    GPIO_InitStruct.Pull = GPIO_NOPULL; // Pullup resistor is on IMU board
    GPIO_InitStruct.Speed = GPIO_SPEED_FREQ_HIGH;
    GPIO_InitStruct.Alternate = GPIO_AF4_I2C4;
    HAL_GPIO_Init(IMU_SCL_GPIO_Port, &GPIO_InitStruct);

    /* Configure IMU_SDA_Pin */
    GPIO_InitStruct.Pin = IMU_SDA_Pin;
    GPIO_InitStruct.Mode = GPIO_MODE_AF_OD;
    GPIO_InitStruct.Pull = GPIO_NOPULL; // Pullup resistor is on IMU board
    GPIO_InitStruct.Speed = GPIO_SPEED_FREQ_HIGH;
    GPIO_InitStruct.Alternate = GPIO_AF4_I2C4;
    HAL_GPIO_Init(IMU_SDA_GPIO_Port, &GPIO_InitStruct);

/* USER CODE END MX_GPIO_Init_2 */
}

void Error_Handler(void)
{
  /* USER CODE BEGIN Error_Handler_Debug */
    HAL_GPIO_WritePin(LED_RED_GPIO_Port, LED_RED_Pin, GPIO_PIN_SET);
    /* User can add his own implementation to report the HAL error return state */
    __disable_irq();
    while (1) {
    }
  /* USER CODE END Error_Handler_Debug */
}
